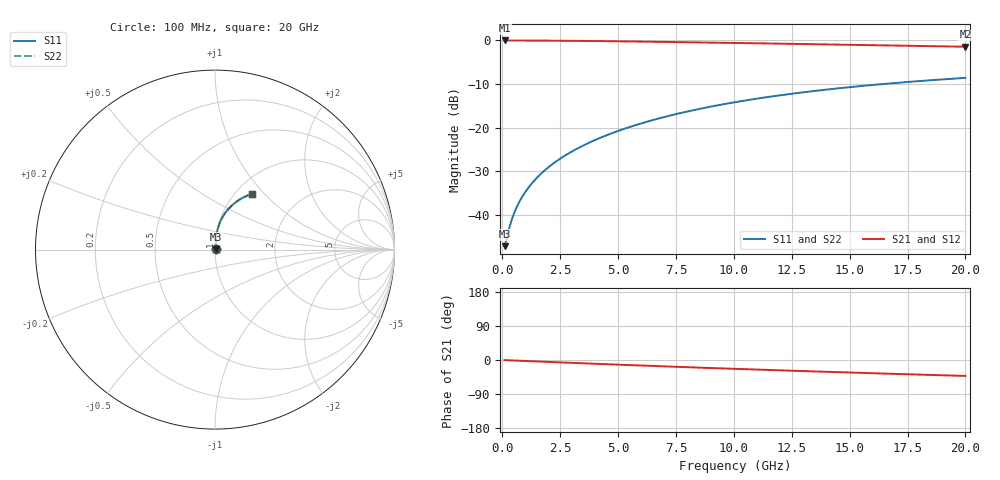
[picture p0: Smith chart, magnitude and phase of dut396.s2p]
! Touchstone file exported from HFSS 2024.1.0
!  File:  C:/UserFiles/LocalFiles/RDL_TSV_Batchsim/temp_RDL_bottom_396_1779614562.aedt
!  Generated:  05:26:01 PM May 24, 2026
!  Design:  RDL_bottom
!  Project:  temp_RDL_bottom_396_1779614562
!  Setup:  Setup1
!  Solution:  Sweep
! Variables:
!  dtsv = 10.80580581um
!  hbump = 3um
!  htsv = 99.39um
!  ldown = 572.87um
!  lrdl = 100um
!  p = 40
!  p1 = 54.27um
!  rhole = 1um
!  t = 450um
!  tdown = 2.23um
!  trdl = 3.915915916um
!  wdown = 25.44um
!  wrdl = 20um
# GHz S MA R 50.000000
! Terminal data exported
! Port[1] = RDL1_T1
! Port[2] = RDL1_T2
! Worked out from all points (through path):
!   200 points, 100 MHz to 20 GHz, reference 50 ohm
!   highest |S21| = -0.03 dB at 100 MHz (marker M1); lowest = -1.5 dB at 20 GHz (marker M2)
!   group delay of S21, straight-line fit = 5.8 ps
!   lowest |S11| = -47.2 dB at 100 MHz (marker M3), VSWR 1.01, Z = 50.4 + j0.196 ohm
!   |S11| at or under -10 dB: start of sweep to 16.48 GHz
!   |S22| runs from -47.2 to -8.6 dB; largest |S21 - S12| = 4.1e-15
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0.1  0.00438 26.4  0.9961 -0.3  0.9961 -0.3  0.00438 26.4
! Gamma 0 0 0 0
! Port Impedance 50 0 50 0
0.3  0.007081 53.7  0.9957 -0.8  0.9957 -0.8  0.007081 53.7
0.4  0.008671 59.8  0.9955 -1.1  0.9955 -1.1  0.008671 59.8
0.5  0.01028 63.9  0.9952 -1.3  0.9952 -1.3  0.01028 63.9
0.6  0.0119 67.0  0.995 -1.6  0.995 -1.6  0.0119 66.9
0.7  0.01351 69.3  0.9948 -1.8  0.9948 -1.8  0.01351 69.3
0.9  0.01675 72.8  0.9943 -2.3  0.9943 -2.3  0.01675 72.8
1.2  0.02168 76.3  0.9935 -3.1  0.9935 -3.1  0.02168 76.3
1.7  0.0301 79.8  0.9921 -4.3  0.9921 -4.3  0.0301 79.8
2.2  0.03877 81.8  0.9902 -5.6  0.9902 -5.6  0.03877 81.8
2.8  0.04949 83.2  0.9876 -7.1  0.9876 -7.1  0.04949 83.1
3.5  0.06242 83.9  0.9839 -8.8  0.9839 -8.8  0.06242 83.9
4.2  0.07578 84.0  0.9796 -10.4  0.9796 -10.4  0.07577 84.0
5  0.0915 83.7  0.9742 -12.3  0.9742 -12.3  0.09149 83.7
5.9  0.1097 82.9  0.9675 -14.4  0.9675 -14.4  0.1096 82.9
6.8  0.1282 81.7  0.9604 -16.4  0.9604 -16.4  0.1281 81.7
8.4  0.1614 79.1  0.9471 -19.9  0.9471 -19.9  0.1614 79.1
10.1  0.1965 75.9  0.9323 -23.5  0.9323 -23.5  0.1964 75.9
11.7  0.2286 72.7  0.9182 -26.7  0.9182 -26.7  0.2285 72.7
13.4  0.2613 69.3  0.903 -30.0  0.903 -30.0  0.2612 69.3
16.7  0.3199 62.8  0.8734 -36.2  0.8734 -36.2  0.3198 62.8
20  0.3713 56.6  0.8443 -42.1  0.8443 -42.1  0.3712 56.6
